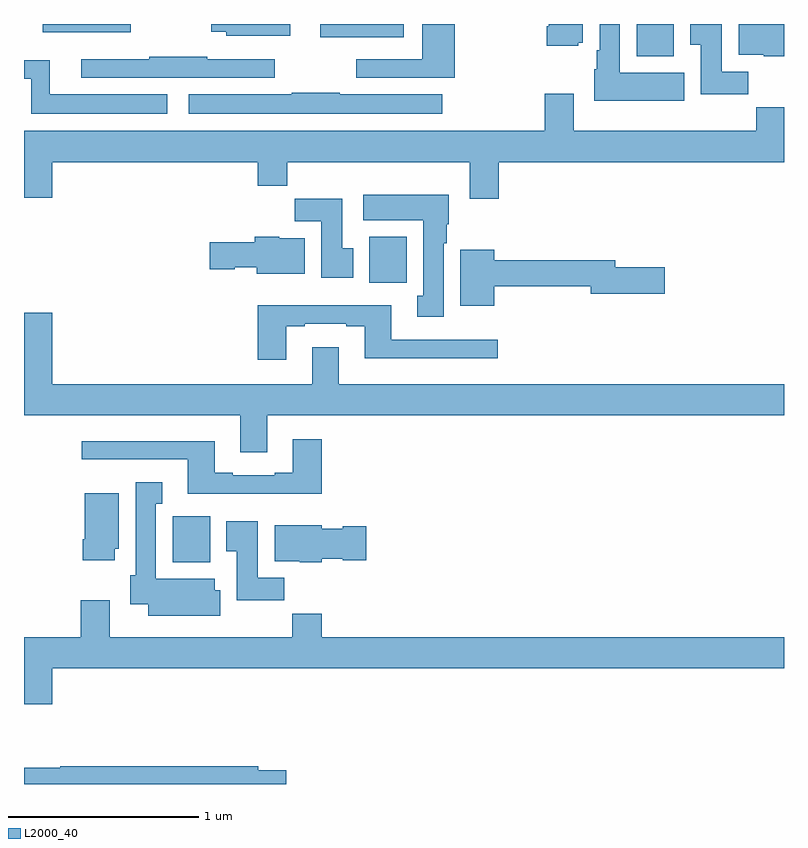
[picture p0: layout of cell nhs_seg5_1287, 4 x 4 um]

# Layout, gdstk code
import gdstk
lib = gdstk.Library(unit=1e-6, precision=1e-09)
def R(c, l, rs):  # rectangles x0, y0, x1, y1
    for r in rs: c.add(gdstk.rectangle(r[:2], r[2:], *l))
def P(c, l, *ps):  # polygons
    for p in ps: c.add(gdstk.Polygon(p, *l))
L2000_40 = (2000, 40)

nhs_seg5_1287 = lib.new_cell('nhs_seg5_1287')
R(nhs_seg5_1287, L2000_40, [(189.782,875.966,189.979,876.208), (190.817,877.436,191.014,877.678), (192.224,878.63,192.421,878.799), (190.559,878.729,190.999,878.799), (189.098,878.756,189.562,878.799)])
P(nhs_seg5_1287, L2000_40, [(191.916,878.7),(191.941,878.7),(191.941,878.799),(191.762,878.799),(191.762,878.788),(191.75,878.788),(191.75,878.684),(191.916,878.684)],
  [(192.812,878.548),(192.673,878.548),(192.673,878.799),(192.506,878.799),(192.506,878.689),(192.563,878.689),(192.563,878.43),(192.812,878.43)],
  [(193,878.799),(192.761,878.799),(192.761,878.636),(192.894,878.636),(192.894,878.63),(193,878.63)],
  [(190.402,878.799),(189.986,878.799),(189.986,878.759),(190.065,878.759),(190.065,878.738),(190.402,878.738)],
  [(191.267,878.799),(191.096,878.799),(191.096,878.613),(190.749,878.613),(190.749,878.517),(191.267,878.517)],
  [(192.475,878.542),(192.136,878.542),(192.136,878.799),(192.029,878.799),(192.029,878.662),(192.014,878.662),(192.014,878.562),(192.002,878.562),(192.002,878.396),(192.475,878.396)],
  [(190.321,878.613),(189.965,878.613),(189.965,878.626),(189.658,878.626),(189.658,878.614),(189.3,878.614),(189.3,878.517),(190.321,878.517)],
  [(189.754,878.428),(189.136,878.428),(189.136,878.607),(189,878.607),(189,878.511),(189.038,878.511),(189.038,878.327),(189.754,878.327)],
  [(191.2,878.428),(190.661,878.428),(190.661,878.438),(190.408,878.438),(190.408,878.428),(189.867,878.428),(189.867,878.327),(191.2,878.327)],
  [(191.498,878.072),(193,878.072),(193,878.36),(192.853,878.36),(192.853,878.236),(191.893,878.236),(191.893,878.431),(191.741,878.431),(191.741,878.236),(189,878.236),(189,877.884),(189.148,877.884),(189.148,878.072),(190.229,878.072),(190.229,877.948),(190.385,877.948),(190.385,878.072),(191.345,878.072),(191.345,877.878),(191.498,877.878)],
  [(191.209,877.646),(191.224,877.646),(191.224,877.746),(191.236,877.746),(191.236,877.9),(190.785,877.9),(190.785,877.766),(191.102,877.766),(191.102,877.37),(191.069,877.37),(191.069,877.257),(191.209,877.257)],
  [(190.732,877.62),(190.675,877.62),(190.675,877.879),(190.426,877.879),(190.426,877.76),(190.565,877.76),(190.565,877.464),(190.732,877.464)],
  [(190.477,877.672),(190.344,877.672),(190.344,877.678),(190.214,877.678),(190.214,877.65),(189.978,877.65),(189.978,877.508),(190.11,877.508),(190.11,877.52),(190.226,877.52),(190.226,877.484),(190.477,877.484)],
  [(191.476,877.42),(191.984,877.42),(191.984,877.378),(192.373,877.378),(192.373,877.52),(192.112,877.52),(192.112,877.556),(191.476,877.556),(191.476,877.612),(191.297,877.612),(191.297,877.316),(191.476,877.316)],
  [(190.381,877.209),(190.477,877.209),(190.477,877.221),(190.697,877.221),(190.697,877.209),(190.793,877.209),(190.793,877.04),(191.494,877.04),(191.494,877.137),(190.933,877.137),(190.933,877.318),(190.229,877.318),(190.229,877.032),(190.381,877.032)],
  [(190.279,876.74),(193,876.74),(193,876.904),(190.657,876.904),(190.657,877.099),(190.517,877.099),(190.517,876.904),(189.148,876.904),(189.148,877.279),(189,877.279),(189,876.74),(190.139,876.74),(190.139,876.546),(190.279,876.546)],
  [(190.568,876.613),(190.415,876.613),(190.415,876.436),(190.319,876.436),(190.319,876.423),(190.099,876.423),(190.099,876.436),(190.003,876.436),(190.003,876.604),(189.303,876.604),(189.303,876.507),(189.863,876.507),(189.863,876.326),(190.568,876.326)],
  [(190.033,875.819),(190.003,875.819),(190.003,875.878),(189.694,875.878),(189.694,876.275),(189.727,876.275),(189.727,876.388),(189.587,876.388),(189.587,875.898),(189.56,875.898),(189.56,875.744),(189.653,875.744),(189.653,875.684),(190.033,875.684)],
  [(189.478,876.036),(189.499,876.036),(189.499,876.328),(189.32,876.328),(189.32,876.088),(189.308,876.088),(189.308,875.976),(189.478,875.976)],
  [(190.37,875.884),(190.231,875.884),(190.231,876.181),(190.064,876.181),(190.064,876.025),(190.121,876.025),(190.121,875.766),(190.37,875.766)],
  [(190.566,875.984),(190.677,875.984),(190.677,875.977),(190.801,875.977),(190.801,876.155),(190.677,876.155),(190.677,876.142),(190.566,876.142),(190.566,876.16),(190.319,876.16),(190.319,875.972),(190.452,875.972),(190.452,875.966),(190.566,875.966)],
  [(189.148,875.408),(193,875.408),(193,875.572),(190.568,875.572),(190.568,875.696),(190.411,875.696),(190.411,875.572),(189.451,875.572),(189.451,875.767),(189.299,875.767),(189.299,875.572),(189,875.572),(189,875.22),(189.148,875.22)],
  [(190.379,874.872),(190.232,874.872),(190.232,874.892),(189.19,874.892),(189.19,874.885),(189,874.885),(189,874.799),(190.379,874.799)])

lib.write_gds('nhs_seg5_1287.gds')
